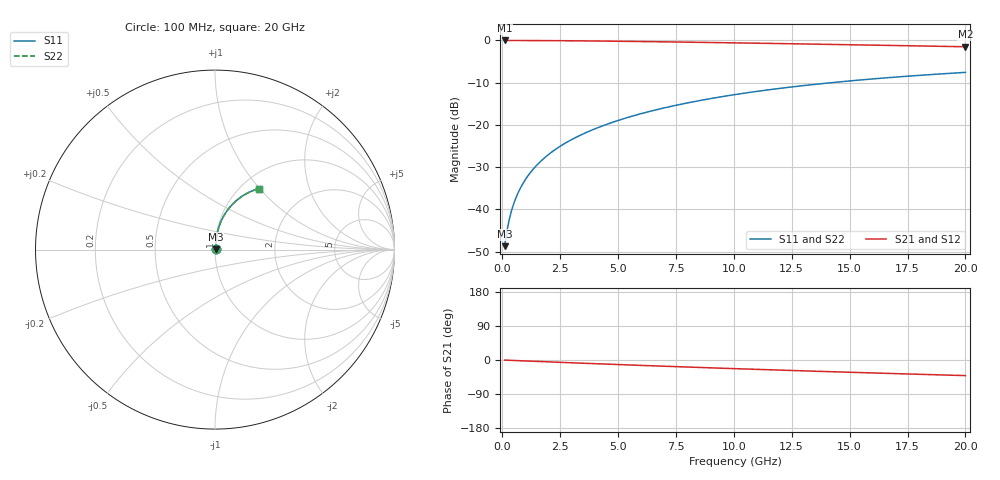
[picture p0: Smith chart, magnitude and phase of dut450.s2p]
! Touchstone file exported from HFSS 2024.1.0
!  File:  C:/UserFiles/LocalFiles/RDL_TSV_Batchsim/temp_RDL_bottom_450_1779685083.aedt
!  Generated:  01:00:27 PM May 25, 2026
!  Design:  RDL_bottom
!  Project:  temp_RDL_bottom_450_1779685083
!  Setup:  Setup1
!  Solution:  Sweep
! Variables:
!  dtsv = 10.80580581um
!  hbump = 3um
!  htsv = 51.79um
!  ldown = 557.47um
!  lrdl = 100um
!  p = 40
!  p1 = 52.9um
!  rhole = 1um
!  t = 450um
!  tdown = 4.04um
!  trdl = 3.915915916um
!  wdown = 18.38um
!  wrdl = 20um
# GHz S MA R 50.000000
! Terminal data exported
! Port[1] = RDL1_T1
! Port[2] = RDL1_T2
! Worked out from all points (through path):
!   200 points, 100 MHz to 20 GHz, reference 50 ohm
!   highest |S21| = -0.02 dB at 100 MHz (marker M1); lowest = -1.5 dB at 20 GHz (marker M2)
!   group delay of S21, straight-line fit = 5.68 ps
!   lowest |S11| = -48.7 dB at 100 MHz (marker M3), VSWR 1.01, Z = 50.3 + j0.238 ohm
!   |S11| at or under -10 dB: start of sweep to 14.24 GHz
!   |S22| runs from -48.7 to -7.6 dB; largest |S21 - S12| = 2.2e-15
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0.1  0.003667 40.1  0.9972 -0.3  0.9972 -0.3  0.003667 40.1
! Gamma 0 0 0 0
! Port Impedance 50 0 50 0
0.2  0.005509 58.0  0.9971 -0.5  0.9971 -0.5  0.005509 58.0
0.3  0.007564 66.2  0.9969 -0.8  0.9969 -0.8  0.007564 66.2
0.4  0.009668 70.8  0.9967 -1.0  0.9967 -1.0  0.009668 70.8
0.5  0.01179 73.8  0.9966 -1.3  0.9966 -1.3  0.01179 73.8
0.6  0.01393 75.9  0.9964 -1.5  0.9964 -1.5  0.01393 75.9
0.8  0.01824 78.7  0.9961 -2.0  0.9961 -2.0  0.01824 78.6
1.1  0.02477 80.9  0.9955 -2.7  0.9955 -2.7  0.02477 80.9
1.5  0.03356 82.4  0.9945 -3.7  0.9945 -3.7  0.03356 82.4
1.8  0.04019 82.9  0.9936 -4.5  0.9936 -4.5  0.04019 82.9
2.1  0.04687 83.2  0.9925 -5.2  0.9925 -5.2  0.04686 83.2
2.7  0.0603 83.3  0.99 -6.6  0.99 -6.6  0.06029 83.3
3.5  0.07838 82.8  0.9858 -8.6  0.9858 -8.6  0.07837 82.8
4.2  0.09434 82.2  0.9816 -10.2  0.9816 -10.2  0.09433 82.2
5  0.1127 81.2  0.9762 -12.0  0.9762 -12.0  0.1127 81.2
5.9  0.1335 79.9  0.9695 -14.1  0.9695 -14.1  0.1335 79.9
6.8  0.1543 78.5  0.9623 -16.0  0.9623 -16.0  0.1543 78.5
8.4  0.1911 75.7  0.9488 -19.5  0.9488 -19.5  0.191 75.7
10.1  0.2293 72.5  0.9337 -23.0  0.9337 -23.0  0.2292 72.5
13.4  0.2995 66.3  0.903 -29.4  0.903 -29.4  0.2993 66.3
16.7  0.3625 60.2  0.8714 -35.5  0.8714 -35.5  0.3624 60.2
20  0.4178 54.4  0.8397 -41.1  0.8397 -41.1  0.4176 54.4
